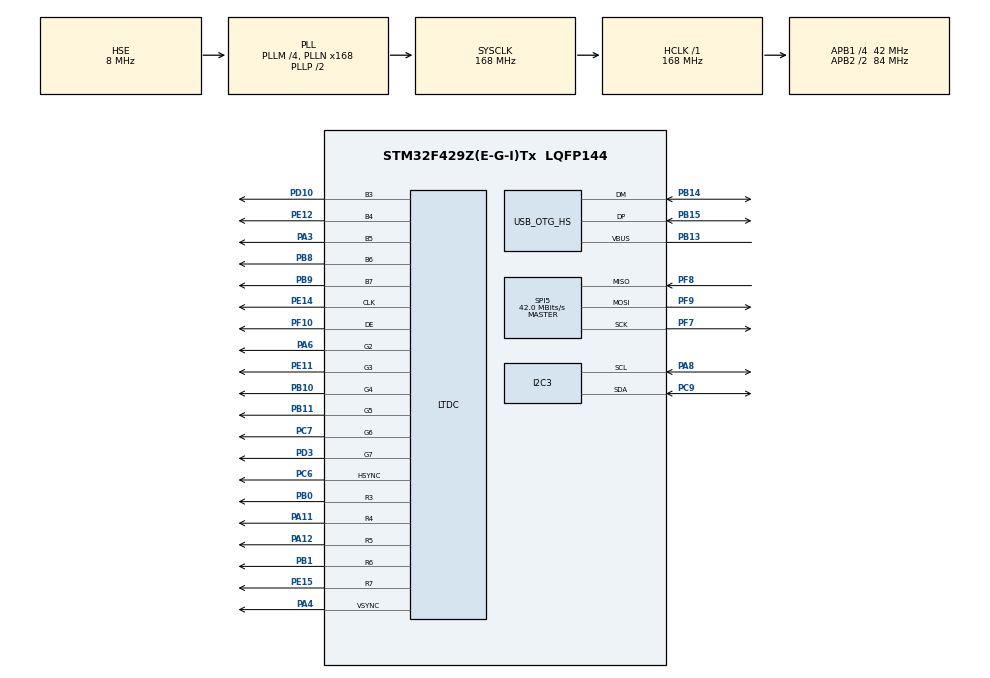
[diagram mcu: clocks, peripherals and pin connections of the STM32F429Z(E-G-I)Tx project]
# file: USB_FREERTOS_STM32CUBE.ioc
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DMA2D.ColorMode=DMA2D_OUTPUT_RGB565
FATFS._USE_STRFUNC=1
FREERTOS.Queues01=app_queue,1,uint16_t,NULL,Dynamic,NULL,NULL
FREERTOS.Tasks01=usb,0,128,usb_task,Default,NULL,Dynamic,NULL,NULL;lcd,-3,128,lcd_Task,Default,NULL,Dynamic,NULL,NULL
LTDC.ActiveH=240
LTDC.ActiveW=320
LTDC.PixelFormat_L0=LTDC_PIXEL_FORMAT_RGB565
LTDC.PixelFormat_L1=LTDC_PIXEL_FORMAT_RGB565
Mcu.Family=STM32F4
Mcu.Name=STM32F429Z(E-G-I)Tx
Mcu.Package=LQFP144
NVIC.OTG_HS_IRQn=true\:5\:0\:false\:false\:true\:true
NVIC.PriorityGroup=NVIC_PRIORITYGROUP_4
NVIC.TIM1_UP_TIM10_IRQn=true\:0\:0\:false\:false\:true\:false
NVIC.TimeBase=TIM1_UP_TIM10_IRQn
NVIC.TimeBaseIP=TIM1
PA11.Mode=RGB565
PA11.Signal=LTDC_R4
PA12.Mode=RGB565
PA12.Signal=LTDC_R5
PA13.Mode=Serial_Wire
PA13.Signal=SYS_JTMS-SWDIO
PA14.Mode=Serial_Wire
PA14.Signal=SYS_JTCK-SWCLK
PA3.Mode=RGB565
PA3.Signal=LTDC_B5
PA4.Mode=RGB565
PA4.Signal=LTDC_VSYNC
PA6.Mode=RGB565
PA6.Signal=LTDC_G2
PA8.Mode=I2C
PA8.Signal=I2C3_SCL
PB0.Mode=RGB565
PB0.Signal=LTDC_R3
PB1.Mode=RGB565
PB1.Signal=LTDC_R6
PB10.Mode=RGB565
PB10.Signal=LTDC_G4
PB11.Mode=RGB565
PB11.Signal=LTDC_G5
PB13.Mode=Activate_VBUS_FS
PB13.Signal=USB_OTG_HS_VBUS
PB14.Mode=Host_FS
PB14.Signal=USB_OTG_HS_DM
PB15.Mode=Host_FS
PB15.Signal=USB_OTG_HS_DP
PB8.Mode=RGB565
PB8.Signal=LTDC_B6
PB9.Mode=RGB565
PB9.Signal=LTDC_B7
PC6.Mode=RGB565
PC6.Signal=LTDC_HSYNC
PC7.Mode=RGB565
PC7.Signal=LTDC_G6
PC9.Mode=I2C
PC9.Signal=I2C3_SDA
PD10.Mode=RGB565
PD10.Signal=LTDC_B3
PD3.Mode=RGB565
PD3.Signal=LTDC_G7
PE11.Mode=RGB565
PE11.Signal=LTDC_G3
PE12.Mode=RGB565
PE12.Signal=LTDC_B4
PE14.Mode=RGB565
PE14.Signal=LTDC_CLK
PE15.Mode=RGB565
PE15.Signal=LTDC_R7
PF10.Mode=RGB565
PF10.Signal=LTDC_DE
PF7.Mode=Full_Duplex_Master
PF7.Signal=SPI5_SCK
PF8.Mode=Full_Duplex_Master
PF8.Signal=SPI5_MISO
PF9.Mode=Full_Duplex_Master
PF9.Signal=SPI5_MOSI
PH0/OSC_IN.Mode=HSE-External-Oscillator
PH0/OSC_IN.Signal=RCC_OSC_IN
PH1/OSC_OUT.Mode=HSE-External-Oscillator
PH1/OSC_OUT.Signal=RCC_OSC_OUT
ProjectManager.HeapSize=0x200
ProjectManager.StackSize=0x400
ProjectManager.TargetToolchain=SW4STM32
RCC.48MHZClocksFreq_Value=48000000
RCC.AHBFreq_Value=168000000
RCC.APB1CLKDivider=RCC_HCLK_DIV4
RCC.APB1Freq_Value=42000000
RCC.APB1TimFreq_Value=84000000
RCC.APB2CLKDivider=RCC_HCLK_DIV2
RCC.APB2Freq_Value=84000000
RCC.APB2TimFreq_Value=168000000
RCC.CortexFreq_Value=168000000
RCC.HCLKFreq_Value=168000000
RCC.HSE_VALUE=8000000
RCC.HSI_VALUE=16000000
RCC.LSE_VALUE=32768
RCC.PLLM=4
RCC.PLLN=168
RCC.PLLQ=7
RCC.PLLSAIN=50
RCC.SYSCLKFreq_VALUE=168000000
RCC.SYSCLKSource=RCC_SYSCLKSOURCE_PLLCLK
RCC.VCOOutputFreq_Value=336000000
SPI5.CalculateBaudRate=42.0 MBits/s
SPI5.Direction=SPI_DIRECTION_2LINES
SPI5.Mode=SPI_MODE_MASTER
SPI5.VirtualType=VM_MASTER
USB_HOST.USBH_HandleTypeDef-MSC_HS=hUsbHostHS
USB_HOST.VirtualModeHS=Msc
USB_OTG_HS.VirtualMode-Host_FS=Host_FS
VP_DMA2D_VS_DMA2D.Mode=DMA2D_Activate
VP_FATFS_VS_USB.Mode=USB
VP_FREERTOS_VS_ENABLE.Mode=Enabled
VP_SYS_VS_tim1.Mode=TIM1
VP_USB_HOST_VS_USB_HOST_MSC_HS.Mode=MSC_HS
board=STM32F429I-DISC1

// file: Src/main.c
/**
  ******************************************************************************
  * File Name          : main.c
  * Description        : Main program body
  ******************************************************************************
  * This notice applies to any and all portions of this file
  * that are not between comment pairs USER CODE BEGIN and
  * USER CODE END. Other portions of this file, whether
  * inserted by the user or by software development tools
  * are owned by their respective copyright owners.
  *
  * Copyright (c) 2017 STMicroelectronics International N.V.
  * All rights reserved.
  *
  * Redistribution and use in source and binary forms, with or without
  * modification, are permitted, provided that the following conditions are met:
  *
  * 1. Redistribution of source code must retain the above copyright notice,
  *    this list of conditions and the following disclaimer.
  * 2. Redistributions in binary form must reproduce the above copyright notice,
  *    this list of conditions and the following disclaimer in the documentation
  *    and/or other materials provided with the distribution.
  * 3. Neither the name of STMicroelectronics nor the names of other
  *    contributors to this software may be used to endorse or promote products
  *    derived from this software without specific written permission.
  * 4. This software, including modifications and/or derivative works of this
  *    software, must execute solely and exclusively on microcontroller or
  *    microprocessor devices manufactured by or for STMicroelectronics.
  * 5. Redistribution and use of this software other than as permitted under
  *    this license is void and will automatically terminate your rights under
  *    this license.
  *
  * THIS SOFTWARE IS PROVIDED BY STMICROELECTRONICS AND CONTRIBUTORS "AS IS"
  * AND ANY EXPRESS, IMPLIED OR STATUTORY WARRANTIES, INCLUDING, BUT NOT
  * LIMITED TO, THE IMPLIED WARRANTIES OF MERCHANTABILITY, FITNESS FOR A
  * PARTICULAR PURPOSE AND NON-INFRINGEMENT OF THIRD PARTY INTELLECTUAL PROPERTY
  * RIGHTS ARE DISCLAIMED TO THE FULLEST EXTENT PERMITTED BY LAW. IN NO EVENT
  * SHALL STMICROELECTRONICS OR CONTRIBUTORS BE LIABLE FOR ANY DIRECT, INDIRECT,
  * INCIDENTAL, SPECIAL, EXEMPLARY, OR CONSEQUENTIAL DAMAGES (INCLUDING, BUT NOT
  * LIMITED TO, PROCUREMENT OF SUBSTITUTE GOODS OR SERVICES; LOSS OF USE, DATA,
  * OR PROFITS; OR BUSINESS INTERRUPTION) HOWEVER CAUSED AND ON ANY THEORY OF
  * LIABILITY, WHETHER IN CONTRACT, STRICT LIABILITY, OR TORT (INCLUDING
  * NEGLIGENCE OR OTHERWISE) ARISING IN ANY WAY OUT OF THE USE OF THIS SOFTWARE,
  * EVEN IF ADVISED OF THE POSSIBILITY OF SUCH DAMAGE.
  *
  ******************************************************************************
  */
#include "main.h"
#include "stm32f4xx_hal.h"
#include "cmsis_os.h"
#include "fatfs.h"
#include "usb_host.h"

DMA2D_HandleTypeDef hdma2d;

I2C_HandleTypeDef hi2c3;

LTDC_HandleTypeDef hltdc;

SPI_HandleTypeDef hspi5;

osThreadId usbHandle;
osThreadId lcdHandle;
osMessageQId app_queueHandle;

/* USER CODE BEGIN PV */
/* Private variables ---------------------------------------------------------*/

/* USER CODE END PV */

void SystemClock_Config(void);
static void MX_GPIO_Init(void);
static void MX_DMA2D_Init(void);
static void MX_LTDC_Init(void);
static void MX_SPI5_Init(void);
static void MX_I2C3_Init(void);
void usb_task(void const * argument);
void lcd_Task(void const * argument);

/* USER CODE BEGIN PFP */
/* Private function prototypes -----------------------------------------------*/

/* USER CODE END PFP */

int main(void)
{

  /* MCU Configuration----------------------------------------------------------*/

  /* Reset of all peripherals, Initializes the Flash interface and the Systick. */
  HAL_Init();

  /* Configure the system clock */
  SystemClock_Config();

  /* Initialize all configured peripherals */
  MX_GPIO_Init();
  MX_DMA2D_Init();
  MX_LTDC_Init();
  MX_SPI5_Init();
  MX_I2C3_Init();

  /* Create the thread(s) */
  /* definition and creation of usb */
  osThreadDef(usb, usb_task, osPriorityNormal, 0, 128);
  usbHandle = osThreadCreate(osThread(usb), NULL);

  /* definition and creation of lcd */
  osThreadDef(lcd, lcd_Task, osPriorityIdle, 0, 128);
  lcdHandle = osThreadCreate(osThread(lcd), NULL);

  /* Create the queue(s) */
  /* definition and creation of app_queue */
  osMessageQDef(app_queue, 1, uint16_t);
  app_queueHandle = osMessageCreate(osMessageQ(app_queue), NULL);

  /* Start scheduler */
  osKernelStart();

  /* We should never get here as control is now taken by the scheduler */

  /* Infinite loop */
  while (1)
  {

  }

}

/** System Clock Configuration
*/
void SystemClock_Config(void)
{

  RCC_OscInitTypeDef RCC_OscInitStruct;
  RCC_ClkInitTypeDef RCC_ClkInitStruct;
  RCC_PeriphCLKInitTypeDef PeriphClkInitStruct;

    /**Configure the main internal regulator output voltage
    */
  __HAL_RCC_PWR_CLK_ENABLE();

  __HAL_PWR_VOLTAGESCALING_CONFIG(PWR_REGULATOR_VOLTAGE_SCALE1);

    /**Initializes the CPU, AHB and APB busses clocks
    */
  RCC_OscInitStruct.OscillatorType = RCC_OSCILLATORTYPE_HSE;
  RCC_OscInitStruct.HSEState = RCC_HSE_ON;
  RCC_OscInitStruct.PLL.PLLState = RCC_PLL_ON;
  RCC_OscInitStruct.PLL.PLLSource = RCC_PLLSOURCE_HSE;
  RCC_OscInitStruct.PLL.PLLM = 4;
  RCC_OscInitStruct.PLL.PLLN = 168;
  RCC_OscInitStruct.PLL.PLLP = RCC_PLLP_DIV2;
  RCC_OscInitStruct.PLL.PLLQ = 7;
  if (HAL_RCC_OscConfig(&RCC_OscInitStruct) != HAL_OK)
  {
    _Error_Handler(__FILE__, __LINE__);
  }

    /**Initializes the CPU, AHB and APB busses clocks
    */
  RCC_ClkInitStruct.ClockType = RCC_CLOCKTYPE_HCLK|RCC_CLOCKTYPE_SYSCLK
                              |RCC_CLOCKTYPE_PCLK1|RCC_CLOCKTYPE_PCLK2;
  RCC_ClkInitStruct.SYSCLKSource = RCC_SYSCLKSOURCE_PLLCLK;
  RCC_ClkInitStruct.AHBCLKDivider = RCC_SYSCLK_DIV1;
  RCC_ClkInitStruct.APB1CLKDivider = RCC_HCLK_DIV4;
  RCC_ClkInitStruct.APB2CLKDivider = RCC_HCLK_DIV2;

  if (HAL_RCC_ClockConfig(&RCC_ClkInitStruct, FLASH_LATENCY_5) != HAL_OK)
  {
    _Error_Handler(__FILE__, __LINE__);
  }

  PeriphClkInitStruct.PeriphClockSelection = RCC_PERIPHCLK_LTDC;
  PeriphClkInitStruct.PLLSAI.PLLSAIN = 50;
  PeriphClkInitStruct.PLLSAI.PLLSAIR = 2;
  PeriphClkInitStruct.PLLSAIDivR = RCC_PLLSAIDIVR_2;
  if (HAL_RCCEx_PeriphCLKConfig(&PeriphClkInitStruct) != HAL_OK)
  {
    _Error_Handler(__FILE__, __LINE__);
  }

    /**Configure the Systick interrupt time
    */
  HAL_SYSTICK_Config(HAL_RCC_GetHCLKFreq()/1000);

    /**Configure the Systick
    */
  HAL_SYSTICK_CLKSourceConfig(SYSTICK_CLKSOURCE_HCLK);

  /* SysTick_IRQn interrupt configuration */
  HAL_NVIC_SetPriority(SysTick_IRQn, 15, 0);
}

/* DMA2D init function */
static void MX_DMA2D_Init(void)
{

  hdma2d.Instance = DMA2D;
  hdma2d.Init.Mode = DMA2D_M2M;
  hdma2d.Init.ColorMode = DMA2D_OUTPUT_RGB565;
  hdma2d.Init.OutputOffset = 0;
  hdma2d.LayerCfg[1].InputOffset = 0;
  hdma2d.LayerCfg[1].InputColorMode = DMA2D_INPUT_RGB565;
  hdma2d.LayerCfg[1].AlphaMode = DMA2D_NO_MODIF_ALPHA;
  hdma2d.LayerCfg[1].InputAlpha = 0;
  if (HAL_DMA2D_Init(&hdma2d) != HAL_OK)
  {
    _Error_Handler(__FILE__, __LINE__);
  }

  if (HAL_DMA2D_ConfigLayer(&hdma2d, 1) != HAL_OK)
  {
    _Error_Handler(__FILE__, __LINE__);
  }

}

/* I2C3 init function */
static void MX_I2C3_Init(void)
{

  hi2c3.Instance = I2C3;
  hi2c3.Init.ClockSpeed = 100000;
  hi2c3.Init.DutyCycle = I2C_DUTYCYCLE_2;
  hi2c3.Init.OwnAddress1 = 0;
  hi2c3.Init.AddressingMode = I2C_ADDRESSINGMODE_7BIT;
  hi2c3.Init.DualAddressMode = I2C_DUALADDRESS_DISABLE;
  hi2c3.Init.OwnAddress2 = 0;
  hi2c3.Init.GeneralCallMode = I2C_GENERALCALL_DISABLE;
  hi2c3.Init.NoStretchMode = I2C_NOSTRETCH_DISABLE;
  if (HAL_I2C_Init(&hi2c3) != HAL_OK)
  {
    _Error_Handler(__FILE__, __LINE__);
  }

}

/* LTDC init function */
static void MX_LTDC_Init(void)
{

  LTDC_LayerCfgTypeDef pLayerCfg;
  LTDC_LayerCfgTypeDef pLayerCfg1;

  hltdc.Instance = LTDC;
  hltdc.Init.HSPolarity = LTDC_HSPOLARITY_AL;
  hltdc.Init.VSPolarity = LTDC_VSPOLARITY_AL;
  hltdc.Init.DEPolarity = LTDC_DEPOLARITY_AL;
  hltdc.Init.PCPolarity = LTDC_PCPOLARITY_IPC;
  hltdc.Init.HorizontalSync = 7;
  hltdc.Init.VerticalSync = 3;
  hltdc.Init.AccumulatedHBP = 14;
  hltdc.Init.AccumulatedVBP = 5;
  hltdc.Init.AccumulatedActiveW = 334;
  hltdc.Init.AccumulatedActiveH = 245;
  hltdc.Init.TotalWidth = 340;
  hltdc.Init.TotalHeigh = 247;
  hltdc.Init.Backcolor.Blue = 0;
  hltdc.Init.Backcolor.Green = 0;
  hltdc.Init.Backcolor.Red = 0;
  if (HAL_LTDC_Init(&hltdc) != HAL_OK)
  {
    _Error_Handler(__FILE__, __LINE__);
  }

  pLayerCfg.WindowX0 = 0;
  pLayerCfg.WindowX1 = 0;
  pLayerCfg.WindowY0 = 0;
  pLayerCfg.WindowY1 = 0;
  pLayerCfg.PixelFormat = LTDC_PIXEL_FORMAT_RGB565;
  pLayerCfg.Alpha = 0;
  pLayerCfg.Alpha0 = 0;
  pLayerCfg.BlendingFactor1 = LTDC_BLENDING_FACTOR1_CA;
  pLayerCfg.BlendingFactor2 = LTDC_BLENDING_FACTOR2_CA;
  pLayerCfg.FBStartAdress = 0;
  pLayerCfg.ImageWidth = 0;
  pLayerCfg.ImageHeight = 0;
  pLayerCfg.Backcolor.Blue = 0;
  pLayerCfg.Backcolor.Green = 0;
  pLayerCfg.Backcolor.Red = 0;
  if (HAL_LTDC_ConfigLayer(&hltdc, &pLayerCfg, 0) != HAL_OK)
  {
    _Error_Handler(__FILE__, __LINE__);
  }

  pLayerCfg1.WindowX0 = 0;
  pLayerCfg1.WindowX1 = 0;
  pLayerCfg1.WindowY0 = 0;
  pLayerCfg1.WindowY1 = 0;
  pLayerCfg1.PixelFormat = LTDC_PIXEL_FORMAT_RGB565;
  pLayerCfg1.Alpha = 0;
  pLayerCfg1.Alpha0 = 0;
  pLayerCfg1.BlendingFactor1 = LTDC_BLENDING_FACTOR1_CA;
  pLayerCfg1.BlendingFactor2 = LTDC_BLENDING_FACTOR2_CA;
  pLayerCfg1.FBStartAdress = 0;
  pLayerCfg1.ImageWidth = 0;
  pLayerCfg1.ImageHeight = 0;
  pLayerCfg1.Backcolor.Blue = 0;
  pLayerCfg1.Backcolor.Green = 0;
  pLayerCfg1.Backcolor.Red = 0;
  if (HAL_LTDC_ConfigLayer(&hltdc, &pLayerCfg1, 1) != HAL_OK)
  {
    _Error_Handler(__FILE__, __LINE__);
  }

}

/* SPI5 init function */
static void MX_SPI5_Init(void)
{

  hspi5.Instance = SPI5;
  hspi5.Init.Mode = SPI_MODE_MASTER;
  hspi5.Init.Direction = SPI_DIRECTION_2LINES;
  hspi5.Init.DataSize = SPI_DATASIZE_8BIT;
  hspi5.Init.CLKPolarity = SPI_POLARITY_LOW;
  hspi5.Init.CLKPhase = SPI_PHASE_1EDGE;
  hspi5.Init.NSS = SPI_NSS_SOFT;
  hspi5.Init.BaudRatePrescaler = SPI_BAUDRATEPRESCALER_2;
  hspi5.Init.FirstBit = SPI_FIRSTBIT_MSB;
  hspi5.Init.TIMode = SPI_TIMODE_DISABLE;
  hspi5.Init.CRCCalculation = SPI_CRCCALCULATION_DISABLE;
  hspi5.Init.CRCPolynomial = 10;
  if (HAL_SPI_Init(&hspi5) != HAL_OK)
  {
    _Error_Handler(__FILE__, __LINE__);
  }

}

/** Configure pins as
        * Analog
        * Input
        * Output
        * EVENT_OUT
        * EXTI
*/
static void MX_GPIO_Init(void)
{

  /* GPIO Ports Clock Enable */
  __HAL_RCC_GPIOF_CLK_ENABLE();
  __HAL_RCC_GPIOH_CLK_ENABLE();
  __HAL_RCC_GPIOA_CLK_ENABLE();
  __HAL_RCC_GPIOB_CLK_ENABLE();
  __HAL_RCC_GPIOE_CLK_ENABLE();
  __HAL_RCC_GPIOD_CLK_ENABLE();
  __HAL_RCC_GPIOC_CLK_ENABLE();

}

/* usb_task function */
void usb_task(void const * argument)
{
  /* init code for USB_HOST */
  MX_USB_HOST_Init();

  /* init code for FATFS */
  MX_FATFS_Init();

  /* USER CODE BEGIN 5 */
  /* Infinite loop */
  for(;;)
  {
	MX_USB_HOST_Process();
    osDelay(1);
  }
  /* USER CODE END 5 */
}

/* lcd_Task function */
void lcd_Task(void const * argument)
{
  /* USER CODE BEGIN lcd_Task */
  /* Infinite loop */
	BSP_LCD_Init();
	  BSP_LCD_LayerDefaultInit(LCD_BACKGROUND_LAYER, LCD_FRAME_BUFFER);
	  BSP_LCD_LayerDefaultInit(LCD_FOREGROUND_LAYER, LCD_FRAME_BUFFER);
	  BSP_LCD_SelectLayer(LCD_FOREGROUND_LAYER);
	  BSP_LCD_DisplayOn();
	  BSP_LCD_Clear(LCD_COLOR_WHITE);

	  while (1)
	  {
		  BSP_LCD_SetTextColor(LCD_COLOR_DARKGREEN);
		  BSP_LCD_DisplayStringAtLine(1,(uint8_t*)"HOLA MUNDO 1");
		  HAL_Delay(1000);
		  BSP_LCD_SetTextColor(LCD_COLOR_DARKBLUE);
		  BSP_LCD_DisplayStringAtLine(2,(uint8_t*)"HOLA MUNDO 2");
		  HAL_Delay(1000);
		  BSP_LCD_SetTextColor(LCD_COLOR_BLACK);
		  BSP_LCD_DisplayStringAtLine(3,(uint8_t*)"HOLA MUNDO 3");
		  HAL_Delay(1000);
		  BSP_LCD_SetTextColor(LCD_COLOR_DARKYELLOW);
		  BSP_LCD_DisplayStringAtLine(4,(uint8_t*)"HOLA MUNDO 4");
		  HAL_Delay(1000);
		  BSP_LCD_SetTextColor(LCD_COLOR_DARKMAGENTA);
		  BSP_LCD_DisplayStringAtLine(5,(uint8_t*)"HOLA MUNDO 5");
		  HAL_Delay(1000);
		  BSP_LCD_Clear(LCD_COLOR_WHITE);
		  osDelay(1000);

	  }
/* USER CODE END lcd_Task */
}

void HAL_TIM_PeriodElapsedCallback(TIM_HandleTypeDef *htim)
{
  if (htim->Instance == TIM1) {
    HAL_IncTick();
  }
}

void _Error_Handler(char * file, int line)
{
  while(1)
  {
  }
}

/************************ (C) COPYRIGHT STMicroelectronics *****END OF FILE****/
